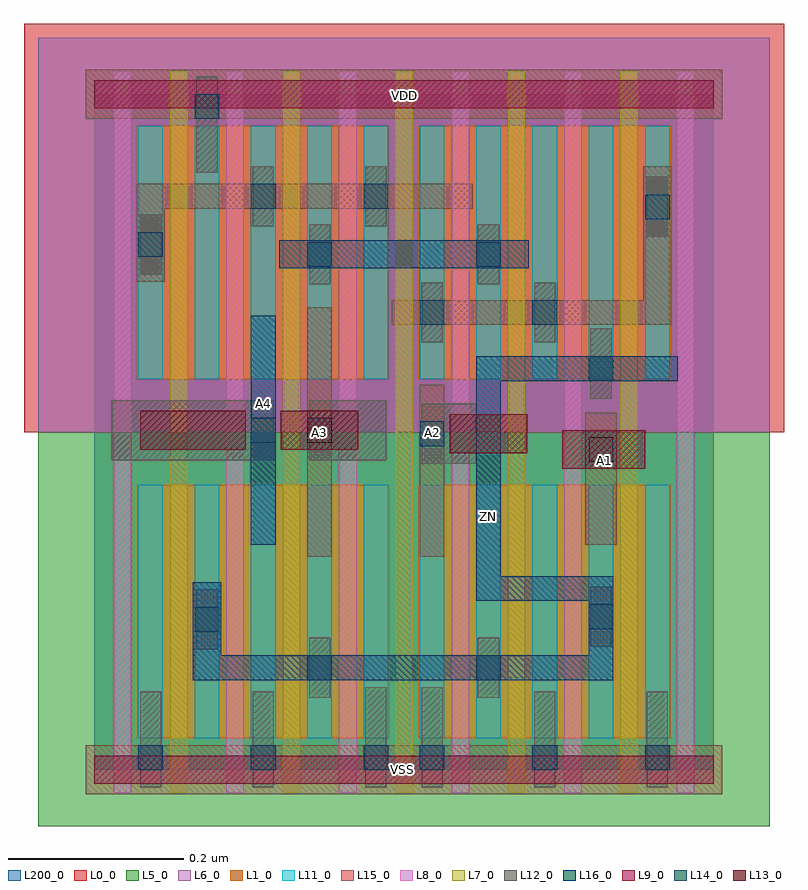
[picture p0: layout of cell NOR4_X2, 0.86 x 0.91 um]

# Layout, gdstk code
import gdstk
lib = gdstk.Library(unit=1e-6, precision=1e-09)
def R(c, l, rs):  # rectangles x0, y0, x1, y1
    for r in rs: c.add(gdstk.rectangle(r[:2], r[2:], *l))
def A(c, l, x, y, w, h, nx, ny, dx, dy):  # array of equal rectangles
    R(c, l, [(x+i*dx, y+j*dy, x+i*dx+w, y+j*dy+h) for i in range(nx) for j in range(ny)])
def P(c, l, *ps):  # polygons
    for p in ps: c.add(gdstk.Polygon(p, *l))
L0_0 = (0, 0)
L1_0 = (1, 0)
L5_0 = (5, 0)
L6_0 = (6, 0)
L7_0 = (7, 0)
L8_0 = (8, 0)
L9_0 = (9, 0)
L11_0 = (11, 0)
L12_0 = (12, 0)
L13_0 = (13, 0)
L14_0 = (14, 0)
L15_0 = (15, 0)
L16_0 = (16, 0)
L200_0 = (200, 0)

nor4_x2 = lib.new_cell('NOR4_X2')
R(nor4_x2, L0_0, [(-0.08,0.384,0.784,0.848)])
R(nor4_x2, L1_0, [(0.048,0.036,0.336,0.324), (0.368,0.036,0.656,0.324), (0.048,0.444,0.336,0.732), (0.368,0.444,0.656,0.732)])
R(nor4_x2, L5_0, [(-0.064,-0.064,0.768,0.384)])
R(nor4_x2, L6_0, [(-0.064,0.384,0.768,0.832)])
A(nor4_x2, L7_0, 0.086, -0.026, 0.02, 0.82, 5, 1, 0.128, 0)
A(nor4_x2, L8_0, 0.022, -0.026, 0.02, 0.82, 6, 1, 0.128, 0)
R(nor4_x2, L9_0, [(0,-0.016,0.704,0.016), (0,0.752,0.704,0.784)])
A(nor4_x2, L11_0, 0.05, 0.036, 0.028, 0.288, 10, 2, 0.064, 0.408)
R(nor4_x2, L12_0, [(0.052,-0.02,0.076,0.089), (0.18,-0.02,0.204,0.089), (0.308,-0.02,0.332,0.094), (0.372,-0.02,0.396,0.094), (0.5,-0.02,0.524,0.089), (0.628,-0.02,0.652,0.089), (0.244,0.082,0.268,0.15), (0.436,0.082,0.46,0.15), (0.116,0.137,0.14,0.205), (0.564,0.14,0.588,0.208), (0.372,0.348,0.434,0.416), (0.02,0.352,0.204,0.42), (0.244,0.352,0.332,0.42), (0.564,0.422,0.588,0.502), (0.372,0.486,0.396,0.554), (0.5,0.486,0.524,0.554), (0.244,0.552,0.268,0.62), (0.436,0.552,0.46,0.62), (0.052,0.563,0.076,0.631), (0.628,0.606,0.652,0.674), (0.18,0.618,0.204,0.686), (0.308,0.618,0.332,0.686), (0.116,0.679,0.14,0.788)])
R(nor4_x2, L13_0, [(0.532,0.342,0.626,0.386), (0.404,0.36,0.492,0.404), (0.052,0.364,0.172,0.408), (0.212,0.364,0.3,0.408)])
A(nor4_x2, L14_0, 0.05, 0, 0.028, 0.028, 3, 1, 0.128, 0)
A(nor4_x2, L14_0, 0.37, 0, 0.028, 0.028, 3, 1, 0.128, 0)
R(nor4_x2, L14_0, [(0.242,0.102,0.27,0.13), (0.434,0.102,0.462,0.13), (0.114,0.157,0.142,0.185), (0.562,0.16,0.59,0.188), (0.562,0.35,0.59,0.378), (0.37,0.368,0.398,0.396), (0.178,0.372,0.206,0.4), (0.242,0.372,0.27,0.4), (0.562,0.442,0.59,0.47), (0.37,0.506,0.398,0.534), (0.498,0.506,0.526,0.534), (0.242,0.572,0.27,0.6), (0.434,0.572,0.462,0.6), (0.05,0.583,0.078,0.611), (0.626,0.626,0.654,0.654), (0.178,0.638,0.206,0.666), (0.306,0.638,0.334,0.666), (0.114,0.74,0.142,0.768)])
R(nor4_x2, L15_0, [(-0.01,-0.028,0.714,0.028), (0.242,0.242,0.27,0.526), (0.37,0.242,0.398,0.438), (0.558,0.256,0.594,0.406), (-0.01,0.74,0.714,0.796)])
P(nor4_x2, L15_0, [(0.048,0.555),(0.08,0.555),(0.08,0.638),(0.43,0.638),(0.43,0.666),(0.048,0.666)],
  [(0.338,0.506),(0.656,0.506),(0.656,0.686),(0.624,0.686),(0.624,0.534),(0.338,0.534)])
R(nor4_x2, L16_0, [(0.178,0.256,0.206,0.516), (0.21,0.57,0.494,0.602)])
P(nor4_x2, L16_0, [(0.462,0.442),(0.663,0.442),(0.663,0.47),(0.434,0.47),(0.434,0.192),(0.562,0.192),(0.562,0.13),(0.144,0.13),(0.144,0.213),(0.112,0.213),(0.112,0.102),(0.59,0.102),(0.59,0.22),(0.462,0.22)])
R(nor4_x2, L200_0, [(0,0,0.704,0.768)])
nor4_x2.add(gdstk.Label('VSS', (0.35,0), layer=15, texttype=20))
nor4_x2.add(gdstk.Label('A3', (0.256,0.384), layer=15, texttype=20))
nor4_x2.add(gdstk.Label('A2', (0.384,0.384), layer=15, texttype=20))
nor4_x2.add(gdstk.Label('A1', (0.58,0.352), layer=15, texttype=20))
nor4_x2.add(gdstk.Label('VDD', (0.352,0.767), layer=15, texttype=20))
nor4_x2.add(gdstk.Label('ZN', (0.448,0.288), layer=16, texttype=20))
nor4_x2.add(gdstk.Label('A4', (0.192,0.416), layer=16, texttype=20))

lib.write_gds('NOR4_X2.gds')
